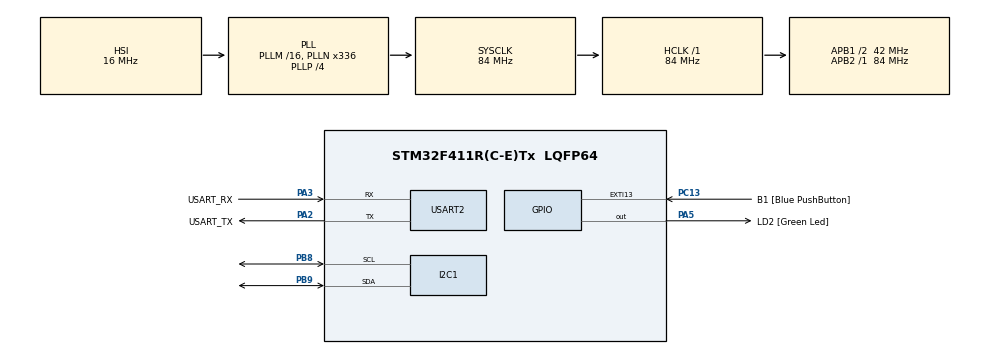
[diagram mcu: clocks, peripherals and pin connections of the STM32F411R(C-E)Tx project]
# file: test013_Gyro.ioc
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Mcu.Family=STM32F4
Mcu.Name=STM32F411R(C-E)Tx
Mcu.Package=LQFP64
NVIC.PriorityGroup=NVIC_PRIORITYGROUP_0
PA13.GPIO_Label=TMS
PA13.Mode=Serial_Wire
PA13.Signal=SYS_JTMS-SWDIO
PA14.GPIO_Label=TCK
PA14.Mode=Serial_Wire
PA14.Signal=SYS_JTCK-SWCLK
PA2.GPIO_Label=USART_TX
PA2.Mode=Asynchronous
PA2.Signal=USART2_TX
PA3.GPIO_Label=USART_RX
PA3.Mode=Asynchronous
PA3.Signal=USART2_RX
PA5.GPIO_Label=LD2 [Green Led]
PA5.Signal=GPIO_Output
PB3.GPIO_Label=SWO
PB3.Signal=SYS_JTDO-SWO
PB8.Mode=I2C
PB8.Signal=I2C1_SCL
PB9.Mode=I2C
PB9.Signal=I2C1_SDA
PC13-ANTI_TAMP.GPIO_Label=B1 [Blue PushButton]
PC13-ANTI_TAMP.GPIO_ModeDefaultEXTI=GPIO_MODE_IT_FALLING
PC13-ANTI_TAMP.Signal=GPXTI13
PC14-OSC32_IN.Mode=LSE-External-Oscillator
PC14-OSC32_IN.Signal=RCC_OSC32_IN
PC15-OSC32_OUT.Mode=LSE-External-Oscillator
PC15-OSC32_OUT.Signal=RCC_OSC32_OUT
PH0\ -\ OSC_IN.Mode=HSE-External-Clock-Source
PH0\ -\ OSC_IN.Signal=RCC_OSC_IN
PH1\ -\ OSC_OUT.Mode=HSE-External-Clock-Source
PH1\ -\ OSC_OUT.Signal=RCC_OSC_OUT
ProjectManager.HeapSize=0x200
ProjectManager.StackSize=0x400
ProjectManager.TargetToolchain=STM32CubeIDE
RCC.48MHZClocksFreq_Value=84000000
RCC.AHBFreq_Value=84000000
RCC.APB1CLKDivider=RCC_HCLK_DIV2
RCC.APB1Freq_Value=42000000
RCC.APB1TimFreq_Value=84000000
RCC.APB2Freq_Value=84000000
RCC.APB2TimFreq_Value=84000000
RCC.CortexFreq_Value=84000000
RCC.FLatency-AdvancedSettings=FLASH_LATENCY_2
RCC.HCLKFreq_Value=84000000
RCC.HSE_VALUE=8000000
RCC.HSI_VALUE=16000000
RCC.PLLN=336
RCC.PLLP=RCC_PLLP_DIV4
RCC.SYSCLKFreq_VALUE=84000000
RCC.SYSCLKSource=RCC_SYSCLKSOURCE_PLLCLK
RCC.VCOOutputFreq_Value=336000000
USART2.VirtualMode=VM_ASYNC
board=NUCLEO-F411RE

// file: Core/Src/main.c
/* USER CODE BEGIN Header */
/**
  ******************************************************************************
  * @file           : main.c
  * @brief          : Main program body
  ******************************************************************************
  * @attention
  *
  * Copyright (c) 2025 STMicroelectronics.
  * All rights reserved.
  *
  * This software is licensed under terms that can be found in the LICENSE file
  * in the root directory of this software component.
  * If no LICENSE file comes with this software, it is provided AS-IS.
  *
  ******************************************************************************
  */
/* USER CODE END Header */
#include "main.h"

I2C_HandleTypeDef hi2c1;

UART_HandleTypeDef huart2;

void SystemClock_Config(void);
static void MX_GPIO_Init(void);
static void MX_USART2_UART_Init(void);
static void MX_I2C1_Init(void);

int main(void)
{

  /* MCU Configuration--------------------------------------------------------*/

  /* Reset of all peripherals, Initializes the Flash interface and the Systick. */
  HAL_Init();

  /* Configure the system clock */
  SystemClock_Config();

  /* Initialize all configured peripherals */
  MX_GPIO_Init();
  MX_USART2_UART_Init();
  MX_I2C1_Init();
  /* USER CODE BEGIN 2 */
  uint16_t GY6500 = 0xd0;
  unsigned char whoami;
  ProgramStart("GyroScope GY-6500 Test");
  i2c_init(&hi2c1);
  i2c_scan();
  HAL_I2C_Mem_Read(&hi2c1, GY6500, 0x75, 1, &whoami, 1, 1000);
  printf("GY-6500 (WHO_AM_I) info : %02x\r\n", whoami);
  HAL_I2C_Mem_Read(&hi2c1, 0x4e, 0x75, 1, &whoami, 1, 1000);
  printf("LCD-1602 (WHO_AM_I) info : %02x\r\n", whoami);

  // MPU-6500 Initial Config
  unsigned char Data;
  Data = 0; // PWR_MGMT_1 (0x6b) = 0
  HAL_I2C_Mem_Write(&hi2c1, GY6500, 0x6b, 1, &Data, 1, 1000);
  Data = 7; // SMPLRT_DIV (0x19) = 7
  HAL_I2C_Mem_Write(&hi2c1, GY6500, 0x19, 1, &Data, 1, 1000);
  Data = 0; // CONFIG (0x1a) = 0
  HAL_I2C_Mem_Write(&hi2c1, GY6500, 0x1a, 1, &Data, 1, 1000);
  Data = 0; // GYRO_CONFIG (0x1b) = 0
  HAL_I2C_Mem_Write(&hi2c1, GY6500, 0x1b, 1, &Data, 1, 1000);
  Data = 0; // ACCEL_CONFIG (0x1c) = 0
  HAL_I2C_Mem_Write(&hi2c1, GY6500, 0x1c, 1, &Data, 1, 1000);
  lcd_init();
  HAL_Delay(10);
  char val0[16];
  char val1[16];
  /* USER CODE END 2 */

  /* Infinite loop */
  /* USER CODE BEGIN WHILE */
  unsigned char acc[6];
  unsigned char gyro[6];
  while (1)
  {
	  //ACCEL Data READ : 0x3b XH XL YH YL ZH ZL
	  HAL_I2C_Mem_Read(&hi2c1, GY6500, 0x3b, 1, acc, 6, 1000);
	  int acc_x = (int)(acc[0] << 8) + acc[1];
	  int acc_y = (int)(acc[2] << 8) + acc[3];
	  int acc_z = (int)(acc[4] << 8) + acc[5];

	  int ax = acc_x / 16384; 	// g Value : gyro / 131
	  int ay = acc_y / 16384; 	// g Value
	  int az = acc_z / 16384; 	// g Value
	  HAL_I2C_Mem_Read(&hi2c1, GY6500, 0x43, 1, gyro, 6, 1000);
	  int gyro_x = ((int)(gyro[0] << 8) + gyro[1]) / 131;
	  int gyro_y = ((int)(gyro[2] << 8) + gyro[3]) / 131;
	  int gyro_z = ((int)(gyro[4] << 8) + gyro[5]) / 131;
	  printf("accX : %d accY : %d accZ : %d\r\n", ax, ay, az);
	  sprintf(val0, "%dg %dg %dg", ax, ay, az);
	  HAL_Delay(10);
	  sprintf(val1, "%-4d %-4d %-4d", gyro_x, gyro_y, gyro_z);
	  HAL_Delay(10);
	  lcd_printEx(val0, 0); HAL_Delay(70);
	  lcd_printEx(val1, 1); HAL_Delay(70);
    /* USER CODE END WHILE */

  }
}

void SystemClock_Config(void)
{
  RCC_OscInitTypeDef RCC_OscInitStruct = {0};
  RCC_ClkInitTypeDef RCC_ClkInitStruct = {0};

  /** Configure the main internal regulator output voltage
  */
  __HAL_RCC_PWR_CLK_ENABLE();
  __HAL_PWR_VOLTAGESCALING_CONFIG(PWR_REGULATOR_VOLTAGE_SCALE1);

  /** Initializes the RCC Oscillators according to the specified parameters
  * in the RCC_OscInitTypeDef structure.
  */
  RCC_OscInitStruct.OscillatorType = RCC_OSCILLATORTYPE_HSI;
  RCC_OscInitStruct.HSIState = RCC_HSI_ON;
  RCC_OscInitStruct.HSICalibrationValue = RCC_HSICALIBRATION_DEFAULT;
  RCC_OscInitStruct.PLL.PLLState = RCC_PLL_ON;
  RCC_OscInitStruct.PLL.PLLSource = RCC_PLLSOURCE_HSI;
  RCC_OscInitStruct.PLL.PLLM = 16;
  RCC_OscInitStruct.PLL.PLLN = 336;
  RCC_OscInitStruct.PLL.PLLP = RCC_PLLP_DIV4;
  RCC_OscInitStruct.PLL.PLLQ = 4;
  if (HAL_RCC_OscConfig(&RCC_OscInitStruct) != HAL_OK)
  {
    Error_Handler();
  }

  /** Initializes the CPU, AHB and APB buses clocks
  */
  RCC_ClkInitStruct.ClockType = RCC_CLOCKTYPE_HCLK|RCC_CLOCKTYPE_SYSCLK
                              |RCC_CLOCKTYPE_PCLK1|RCC_CLOCKTYPE_PCLK2;
  RCC_ClkInitStruct.SYSCLKSource = RCC_SYSCLKSOURCE_PLLCLK;
  RCC_ClkInitStruct.AHBCLKDivider = RCC_SYSCLK_DIV1;
  RCC_ClkInitStruct.APB1CLKDivider = RCC_HCLK_DIV2;
  RCC_ClkInitStruct.APB2CLKDivider = RCC_HCLK_DIV1;

  if (HAL_RCC_ClockConfig(&RCC_ClkInitStruct, FLASH_LATENCY_2) != HAL_OK)
  {
    Error_Handler();
  }
}

static void MX_I2C1_Init(void)
{

  hi2c1.Instance = I2C1;
  hi2c1.Init.ClockSpeed = 100000;
  hi2c1.Init.DutyCycle = I2C_DUTYCYCLE_2;
  hi2c1.Init.OwnAddress1 = 0;
  hi2c1.Init.AddressingMode = I2C_ADDRESSINGMODE_7BIT;
  hi2c1.Init.DualAddressMode = I2C_DUALADDRESS_DISABLE;
  hi2c1.Init.OwnAddress2 = 0;
  hi2c1.Init.GeneralCallMode = I2C_GENERALCALL_DISABLE;
  hi2c1.Init.NoStretchMode = I2C_NOSTRETCH_DISABLE;
  if (HAL_I2C_Init(&hi2c1) != HAL_OK)
  {
    Error_Handler();
  }

}

static void MX_USART2_UART_Init(void)
{

  huart2.Instance = USART2;
  huart2.Init.BaudRate = 115200;
  huart2.Init.WordLength = UART_WORDLENGTH_8B;
  huart2.Init.StopBits = UART_STOPBITS_1;
  huart2.Init.Parity = UART_PARITY_NONE;
  huart2.Init.Mode = UART_MODE_TX_RX;
  huart2.Init.HwFlowCtl = UART_HWCONTROL_NONE;
  huart2.Init.OverSampling = UART_OVERSAMPLING_16;
  if (HAL_UART_Init(&huart2) != HAL_OK)
  {
    Error_Handler();
  }

}

static void MX_GPIO_Init(void)
{
  GPIO_InitTypeDef GPIO_InitStruct = {0};

  /* GPIO Ports Clock Enable */
  __HAL_RCC_GPIOC_CLK_ENABLE();
  __HAL_RCC_GPIOH_CLK_ENABLE();
  __HAL_RCC_GPIOA_CLK_ENABLE();
  __HAL_RCC_GPIOB_CLK_ENABLE();

  /*Configure GPIO pin Output Level */
  HAL_GPIO_WritePin(LD2_GPIO_Port, LD2_Pin, GPIO_PIN_RESET);

  /*Configure GPIO pin : B1_Pin */
  GPIO_InitStruct.Pin = B1_Pin;
  GPIO_InitStruct.Mode = GPIO_MODE_IT_FALLING;
  GPIO_InitStruct.Pull = GPIO_NOPULL;
  HAL_GPIO_Init(B1_GPIO_Port, &GPIO_InitStruct);

  /*Configure GPIO pin : LD2_Pin */
  GPIO_InitStruct.Pin = LD2_Pin;
  GPIO_InitStruct.Mode = GPIO_MODE_OUTPUT_PP;
  GPIO_InitStruct.Pull = GPIO_NOPULL;
  GPIO_InitStruct.Speed = GPIO_SPEED_FREQ_LOW;
  HAL_GPIO_Init(LD2_GPIO_Port, &GPIO_InitStruct);

}

void Error_Handler(void)
{
  __disable_irq();
  while (1)
  {
  }
}
